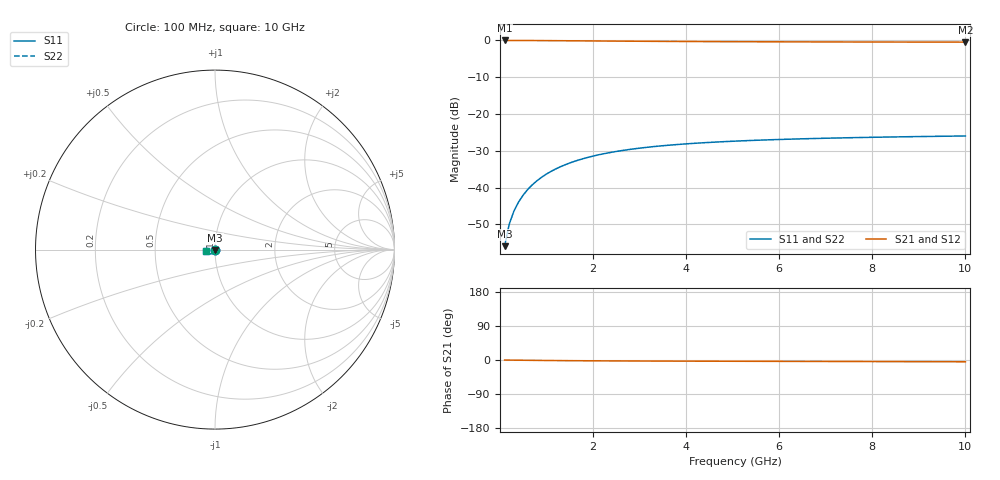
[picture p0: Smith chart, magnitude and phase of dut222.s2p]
! Touchstone file exported from HFSS 2024.1.0
!  File:  C:/UserFiles/LocalFiles/RDL_TSV_Batchsim/temp_TSV1_222_1778767237.aedt
!  Generated:  10:06:17 PM May 14, 2026
!  Design:  TSV1
!  Project:  temp_TSV1_222_1778767237
!  Setup:  Setup1
!  Solution:  Sweep
! Variables:
!  dtsv = 14.88um
!  hbump = 3um
!  htsv = 69.73um
!  lrdl = 252.1521522um
!  p = 40
!  p1 = 57.88um
!  t = 500um
!  trdl = 3um
!  wrdl = 24.89489489um
# GHz S MA R 50.000000
! Terminal data exported
! Port[1] = TSV22_T1
! Port[2] = TSV22_T2
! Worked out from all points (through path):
!   100 points, 100 MHz to 10 GHz, reference 50 ohm
!   highest |S21| = 0.00 dB at 100 MHz (marker M1); lowest = -0.5 dB at 10 GHz (marker M2)
!   lowest |S11| = -55.9 dB at 100 MHz (marker M3), VSWR 1.00, Z = 50 - j0.16 ohm
!   |S11| at or under -10 dB: start of sweep to end of sweep
!   |S22| runs from -55.9 to -26.0 dB; largest |S21 - S12| = 5.7e-15
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0.1  0.001604 -89.4  0.9999 -0.1  0.9999 -0.1  0.001604 -89.4
! Gamma 0 0 0 0
! Port Impedance 50 0 50 0
0.2  0.003206 -92.5  0.9997 -0.3  0.9997 -0.3  0.003206 -92.5
0.3  0.004804 -94.9  0.9994 -0.4  0.9994 -0.4  0.004804 -94.9
0.4  0.00639 -97.0  0.999 -0.5  0.999 -0.5  0.00639 -97.0
0.5  0.007956 -99.1  0.9985 -0.7  0.9985 -0.7  0.007956 -99.1
0.6  0.009496 -101.2  0.9979 -0.8  0.9979 -0.8  0.009496 -101.2
0.7  0.01101 -103.2  0.9972 -0.9  0.9972 -0.9  0.01101 -103.2
0.8  0.01248 -105.1  0.9965 -1.0  0.9965 -1.0  0.01248 -105.1
0.9  0.01392 -107.0  0.9957 -1.2  0.9957 -1.2  0.01392 -107.0
1.1  0.01667 -110.6  0.9939 -1.4  0.9939 -1.4  0.01667 -110.6
1.4  0.02047 -115.8  0.9909 -1.7  0.9909 -1.7  0.02047 -115.8
1.6  0.02277 -119.0  0.9888 -1.8  0.9888 -1.8  0.02277 -119.0
1.8  0.0249 -122.0  0.9867 -2.0  0.9867 -2.0  0.0249 -122.0
2.1  0.02777 -126.2  0.9836 -2.2  0.9836 -2.2  0.02777 -126.2
2.5  0.03105 -131.2  0.9796 -2.4  0.9796 -2.4  0.03105 -131.2
2.9  0.0338 -135.6  0.9759 -2.6  0.9759 -2.6  0.0338 -135.6
3.4  0.03663 -140.4  0.9718 -2.8  0.9718 -2.8  0.03663 -140.4
4.2  0.04013 -146.8  0.9664 -3.1  0.9664 -3.1  0.04013 -146.8
5.1  0.043 -152.7  0.9617 -3.4  0.9617 -3.4  0.043 -152.7
6.7  0.04645 -160.8  0.9559 -3.8  0.9559 -3.8  0.04645 -160.8
8.4  0.04881 -167.5  0.9518 -4.2  0.9518 -4.2  0.04881 -167.5
10  0.05036 -172.6  0.9492 -4.7  0.9492 -4.7  0.05036 -172.6
